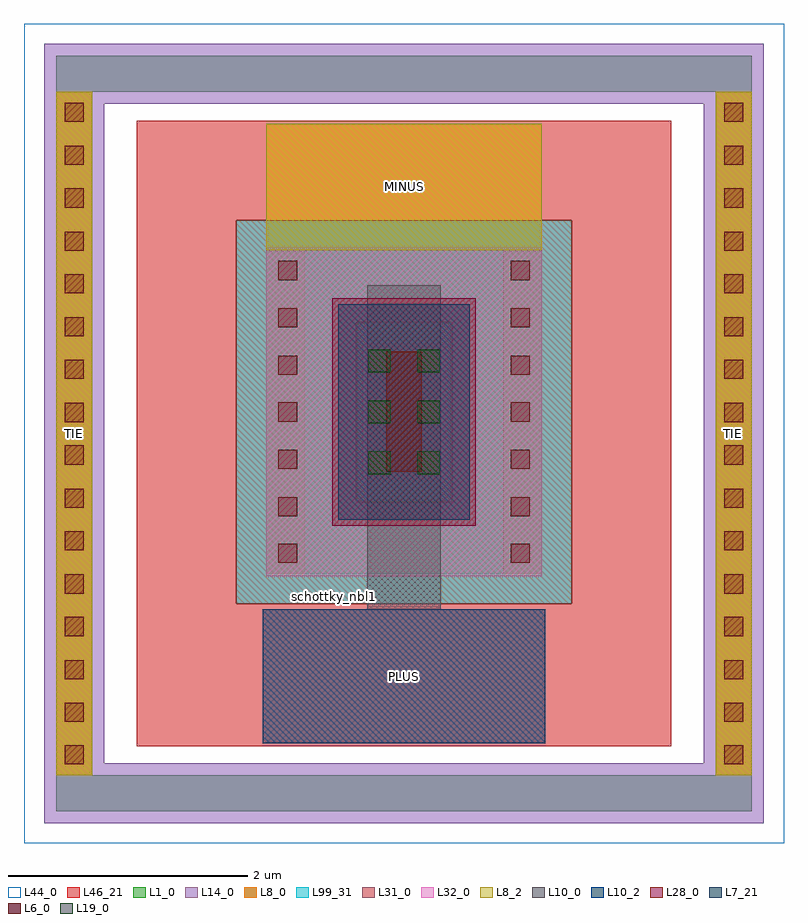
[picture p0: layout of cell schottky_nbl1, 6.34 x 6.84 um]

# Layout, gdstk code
import gdstk
lib = gdstk.Library(unit=1e-6, precision=1e-09)
def R(c, l, rs):  # rectangles x0, y0, x1, y1
    for r in rs: c.add(gdstk.rectangle(r[:2], r[2:], *l))
L1_0 = (1, 0)
L6_0 = (6, 0)
L7_21 = (7, 21)
L8_0 = (8, 0)
L8_2 = (8, 2)
L10_0 = (10, 0)
L10_2 = (10, 2)
L14_0 = (14, 0)
L19_0 = (19, 0)
L28_0 = (28, 0)
L31_0 = (31, 0)
L32_0 = (32, 0)
L44_0 = (44, 0)
L46_21 = (46, 21)
L99_31 = (99, 31)

schottky_nbl1 = lib.new_cell('schottky_nbl1')
R(schottky_nbl1, L1_0, [(-2.3,-2.38,3.5,-2.08), (-2.3,-2.38,3.5,-2.08), (-2.3,-2.08,-2,3.62), (-2.3,-2.08,-2,3.62), (3.2,-2.08,3.5,3.62), (3.2,-2.08,3.5,3.62), (-0.55,-0.4,1.75,2.3), (-0.55,-0.4,1.75,2.3), (-2.3,3.62,3.5,3.92), (-2.3,3.62,3.5,3.92)])
R(schottky_nbl1, L6_0, [(-2.23,-1.99,-2.07,-1.83), (-2.23,-1.99,-2.07,-1.83), (3.27,-1.99,3.43,-1.83), (3.27,-1.99,3.43,-1.83), (-2.23,-1.635,-2.07,-1.475), (-2.23,-1.635,-2.07,-1.475), (3.27,-1.635,3.43,-1.475), (3.27,-1.635,3.43,-1.475), (-2.23,-1.28,-2.07,-1.12), (-2.23,-1.28,-2.07,-1.12), (3.27,-1.28,3.43,-1.12), (3.27,-1.28,3.43,-1.12), (-2.23,-0.92,-2.07,-0.76), (-2.23,-0.92,-2.07,-0.76), (3.27,-0.92,3.43,-0.76), (3.27,-0.92,3.43,-0.76), (-2.23,-0.565,-2.07,-0.405), (-2.23,-0.565,-2.07,-0.405), (3.27,-0.565,3.43,-0.405), (3.27,-0.565,3.43,-0.405), (-0.45,-0.31,-0.29,-0.15), (-0.45,-0.31,-0.29,-0.15), (1.49,-0.31,1.65,-0.15), (1.49,-0.31,1.65,-0.15), (-2.23,-0.205,-2.07,-0.045), (-2.23,-0.205,-2.07,-0.045), (3.27,-0.205,3.43,-0.045), (3.27,-0.205,3.43,-0.045), (-0.45,0.08,-0.29,0.24), (-0.45,0.08,-0.29,0.24), (1.49,0.08,1.65,0.24), (1.49,0.08,1.65,0.24), (-2.23,0.15,-2.07,0.31), (-2.23,0.15,-2.07,0.31), (3.27,0.15,3.43,0.31), (3.27,0.15,3.43,0.31), (0.45,0.45,0.75,1.45), (0.45,0.45,0.75,1.45), (-0.45,0.475,-0.29,0.635), (-0.45,0.475,-0.29,0.635), (1.49,0.475,1.65,0.635), (1.49,0.475,1.65,0.635), (-2.23,0.51,-2.07,0.67), (-2.23,0.51,-2.07,0.67), (3.27,0.51,3.43,0.67), (3.27,0.51,3.43,0.67), (-2.23,0.865,-2.07,1.025), (-2.23,0.865,-2.07,1.025), (3.27,0.865,3.43,1.025), (3.27,0.865,3.43,1.025), (-0.45,0.87,-0.29,1.03), (-0.45,0.87,-0.29,1.03), (1.49,0.87,1.65,1.03), (1.49,0.87,1.65,1.03), (-2.23,1.225,-2.07,1.385), (-2.23,1.225,-2.07,1.385), (3.27,1.225,3.43,1.385), (3.27,1.225,3.43,1.385), (-0.45,1.26,-0.29,1.42), (-0.45,1.26,-0.29,1.42), (1.49,1.26,1.65,1.42), (1.49,1.26,1.65,1.42), (-2.23,1.58,-2.07,1.74), (-2.23,1.58,-2.07,1.74), (3.27,1.58,3.43,1.74), (3.27,1.58,3.43,1.74), (-0.45,1.655,-0.29,1.815), (-0.45,1.655,-0.29,1.815), (1.49,1.655,1.65,1.815), (1.49,1.655,1.65,1.815), (-2.23,1.94,-2.07,2.1), (-2.23,1.94,-2.07,2.1), (3.27,1.94,3.43,2.1), (3.27,1.94,3.43,2.1), (-0.45,2.05,-0.29,2.21), (-0.45,2.05,-0.29,2.21), (1.49,2.05,1.65,2.21), (1.49,2.05,1.65,2.21), (-2.23,2.295,-2.07,2.455), (-2.23,2.295,-2.07,2.455), (3.27,2.295,3.43,2.455), (3.27,2.295,3.43,2.455), (-2.23,2.655,-2.07,2.815), (-2.23,2.655,-2.07,2.815), (3.27,2.655,3.43,2.815), (3.27,2.655,3.43,2.815), (-2.23,3.01,-2.07,3.17), (-2.23,3.01,-2.07,3.17), (3.27,3.01,3.43,3.17), (3.27,3.01,3.43,3.17), (-2.23,3.37,-2.07,3.53), (-2.23,3.37,-2.07,3.53), (3.27,3.37,3.43,3.53), (3.27,3.37,3.43,3.53)])
R(schottky_nbl1, L7_21, [(0.05,0.05,1.15,1.85), (0.05,0.05,1.15,1.85)])
R(schottky_nbl1, L8_0, [(-2.3,-2.08,-2,3.62), (-2.3,-2.08,-2,3.62), (3.2,-2.08,3.5,3.62), (3.2,-2.08,3.5,3.62), (-0.55,-0.4,-0.51,2.3), (-0.55,-0.4,-0.51,2.3), (-0.51,-0.4,-0.23,2.3), (-0.51,-0.4,-0.23,2.3), (1.43,-0.4,1.71,2.3), (1.43,-0.4,1.71,2.3), (1.71,-0.4,1.75,2.3), (1.71,-0.4,1.75,2.3), (0.25,0.38,0.54,1.52), (0.25,0.38,0.54,1.52), (0.25,0.38,0.54,1.52), (0.25,0.38,0.54,1.52), (0.4,0.38,0.8,1.52), (0.4,0.38,0.8,1.52), (0.66,0.38,0.95,1.52), (0.66,0.38,0.95,1.52), (0.66,0.38,0.95,1.52), (0.66,0.38,0.95,1.52), (0.29,0.42,0.5,1.48), (0.29,0.42,0.5,1.48), (0.7,0.42,0.91,1.48), (0.7,0.42,0.91,1.48), (-0.55,2.3,1.75,3.355), (-0.55,2.3,1.75,3.355)])
R(schottky_nbl1, L8_2, [(-2.3,-2.08,-2,3.62), (-2.3,-2.08,-2,3.62), (3.2,-2.08,3.5,3.62), (3.2,-2.08,3.5,3.62), (-0.55,2.3,1.75,3.355), (-0.55,2.3,1.75,3.355)])
R(schottky_nbl1, L10_0, [(-0.58,-1.815,1.78,-0.695), (-0.58,-1.815,1.78,-0.695), (0.295,-0.695,0.905,2.005), (0.295,-0.695,0.905,2.005)])
R(schottky_nbl1, L10_2, [(-0.58,-1.815,1.78,-0.695), (-0.58,-1.815,1.78,-0.695)])
R(schottky_nbl1, L14_0, [(-2.4,-2.48,3.6,-1.98), (-2.4,-2.48,3.6,-1.98), (-2.4,-1.98,-1.9,3.52), (-2.4,-1.98,-1.9,3.52), (3.1,-1.98,3.6,3.52), (3.1,-1.98,3.6,3.52), (-2.4,3.52,3.6,4.02), (-2.4,3.52,3.6,4.02)])
R(schottky_nbl1, L19_0, [(0.3,0.43,0.49,0.62), (0.3,0.43,0.49,0.62), (0.71,0.43,0.9,0.62), (0.71,0.43,0.9,0.62), (0.3,0.855,0.49,1.045), (0.3,0.855,0.49,1.045), (0.71,0.855,0.9,1.045), (0.71,0.855,0.9,1.045), (0.3,1.28,0.49,1.47), (0.3,1.28,0.49,1.47), (0.71,1.28,0.9,1.47), (0.71,1.28,0.9,1.47)])
R(schottky_nbl1, L28_0, [(0,0,1.2,1.9), (0,0,1.2,1.9)])
R(schottky_nbl1, L31_0, [(-0.8,-0.65,2,0.2), (-0.8,-0.65,2,0.2), (-0.8,0.2,0.2,1.7), (-0.8,0.2,0.2,1.7), (1,0.2,2,1.7), (1,0.2,2,1.7), (-0.8,1.7,2,2.55), (-0.8,1.7,2,2.55)])
R(schottky_nbl1, L32_0, [(-0.55,-0.42,1.75,2.32), (-0.55,-0.42,1.75,2.32)])
R(schottky_nbl1, L44_0, [(-2.57,-2.65,3.77,4.19), (-2.57,-2.65,3.77,4.19)])
R(schottky_nbl1, L46_21, [(-1.63,-1.84,2.83,-0.65), (-1.63,-1.84,2.83,-0.65), (-1.63,-0.65,-0.8,2.55), (-1.63,-0.65,-0.8,2.55), (2,-0.65,2.83,2.55), (2,-0.65,2.83,2.55), (0.2,0.2,1,1.7), (0.2,0.2,1,1.7), (-1.63,2.55,2.83,3.38), (-1.63,2.55,2.83,3.38)])
R(schottky_nbl1, L99_31, [(-0.8,-0.65,2,2.55), (-0.8,-0.65,2,2.55)])
schottky_nbl1.add(gdstk.Label('schottky_nbl1', (0.018,-0.59), layer=63, texttype=0))
schottky_nbl1.add(gdstk.Label('PLUS', (0.6,-1.255), layer=63, texttype=0))
schottky_nbl1.add(gdstk.Label('TIE', (3.35,0.77), layer=63, texttype=0))
schottky_nbl1.add(gdstk.Label('TIE', (-2.15,0.77), layer=63, texttype=0))
schottky_nbl1.add(gdstk.Label('MINUS', (0.6,2.827), layer=63, texttype=0))
schottky_nbl1.add(gdstk.Label('schottky_nbl1', (0.018,-0.59), layer=63, texttype=0))
schottky_nbl1.add(gdstk.Label('PLUS', (0.6,-1.255), layer=63, texttype=0))
schottky_nbl1.add(gdstk.Label('TIE', (3.35,0.77), layer=63, texttype=0))
schottky_nbl1.add(gdstk.Label('TIE', (-2.15,0.77), layer=63, texttype=0))
schottky_nbl1.add(gdstk.Label('MINUS', (0.6,2.827), layer=63, texttype=0))

lib.write_gds('schottky_nbl1.gds')
